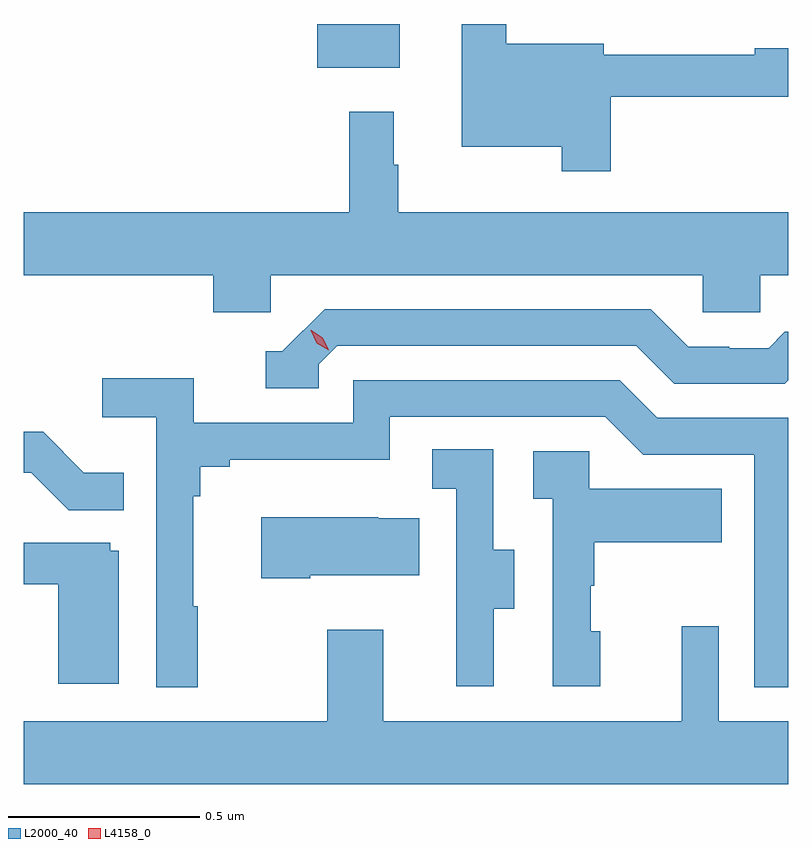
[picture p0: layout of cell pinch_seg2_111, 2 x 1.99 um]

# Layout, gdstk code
import gdstk
lib = gdstk.Library(unit=1e-6, precision=1e-09)
def R(c, l, rs):  # rectangles x0, y0, x1, y1
    for r in rs: c.add(gdstk.rectangle(r[:2], r[2:], *l))
def P(c, l, *ps):  # polygons
    for p in ps: c.add(gdstk.Polygon(p, *l))
L2000_40 = (2000, 40)
L4158_0 = (4158, 0)

pinch_seg2_111 = lib.new_cell('pinch_seg2_111')
R(pinch_seg2_111, L2000_40, [(1078.442,632.195,1078.657,632.309)])
P(pinch_seg2_111, L2000_40, [(1079.21,632.118),(1079.674,632.118),(1079.674,632.246),(1079.587,632.246),(1079.587,632.228),(1079.191,632.228),(1079.191,632.257),(1078.937,632.257),(1078.937,632.309),(1078.82,632.309),(1078.82,631.988),(1079.082,631.988),(1079.082,631.923),(1079.21,631.923)],
  [(1078.32,631.652),(1079.451,631.652),(1079.451,631.554),(1079.601,631.554),(1079.601,631.652),(1079.674,631.652),(1079.674,631.816),(1078.654,631.816),(1078.654,631.94),(1078.642,631.94),(1078.642,632.08),(1078.525,632.08),(1078.525,631.816),(1077.674,631.816),(1077.674,631.652),(1078.169,631.652),(1078.169,631.554),(1078.32,631.554)],
  [(1078.446,631.419),(1078.494,631.467),(1079.277,631.467),(1079.376,631.368),(1079.665,631.368),(1079.674,631.377),(1079.674,631.504),(1079.665,631.504),(1079.623,631.461),(1079.52,631.461),(1079.52,631.464),(1079.413,631.464),(1079.314,631.563),(1078.461,631.563),(1078.35,631.452),(1078.307,631.452),(1078.307,631.356),(1078.446,631.356)],
  [(1078.129,630.785),(1078.117,630.785),(1078.117,631.073),(1078.136,631.073),(1078.136,631.15),(1078.213,631.15),(1078.213,631.169),(1078.632,631.169),(1078.632,631.281),(1079.196,631.281),(1079.295,631.182),(1079.586,631.182),(1079.586,630.573),(1079.674,630.573),(1079.674,631.278),(1079.332,631.278),(1079.233,631.377),(1078.536,631.377),(1078.536,631.266),(1078.118,631.266),(1078.118,631.382),(1077.879,631.382),(1077.879,631.28),(1078.02,631.28),(1078.02,630.573),(1078.129,630.573)],
  [(1077.935,631.135),(1077.831,631.135),(1077.724,631.242),(1077.674,631.242),(1077.674,631.134),(1077.693,631.134),(1077.791,631.036),(1077.935,631.036)],
  [(1078.903,630.778),(1078.957,630.778),(1078.957,630.933),(1078.902,630.933),(1078.902,631.196),(1078.743,631.196),(1078.743,631.093),(1078.806,631.093),(1078.806,630.789),(1078.805,630.789),(1078.805,630.576),(1078.903,630.576)],
  [(1079.182,630.72),(1079.157,630.72),(1079.157,630.839),(1079.167,630.839),(1079.167,630.953),(1079.501,630.953),(1079.501,631.093),(1079.154,631.093),(1079.154,631.191),(1079.007,631.191),(1079.007,631.067),(1079.058,631.067),(1079.058,630.576),(1079.182,630.576)],
  [(1078.423,630.866),(1078.709,630.866),(1078.709,631.015),(1078.601,631.015),(1078.601,631.018),(1078.295,631.018),(1078.295,630.859),(1078.423,630.859)],
  [(1077.922,630.93),(1077.9,630.93),(1077.9,630.951),(1077.674,630.951),(1077.674,630.843),(1077.764,630.843),(1077.764,630.582),(1077.922,630.582)],
  [(1079.674,630.484),(1079.493,630.484),(1079.493,630.733),(1079.396,630.733),(1079.396,630.484),(1078.615,630.484),(1078.615,630.724),(1078.468,630.724),(1078.468,630.484),(1077.674,630.484),(1077.674,630.32),(1079.674,630.32)])
P(pinch_seg2_111, L4158_0, [(1078.472,631.455),(1078.441,631.474),(1078.425,631.507),(1078.425,631.507),(1078.426,631.507),(1078.456,631.488),(1078.472,631.455),(1078.472,631.455)])

lib.write_gds('pinch_seg2_111.gds')
